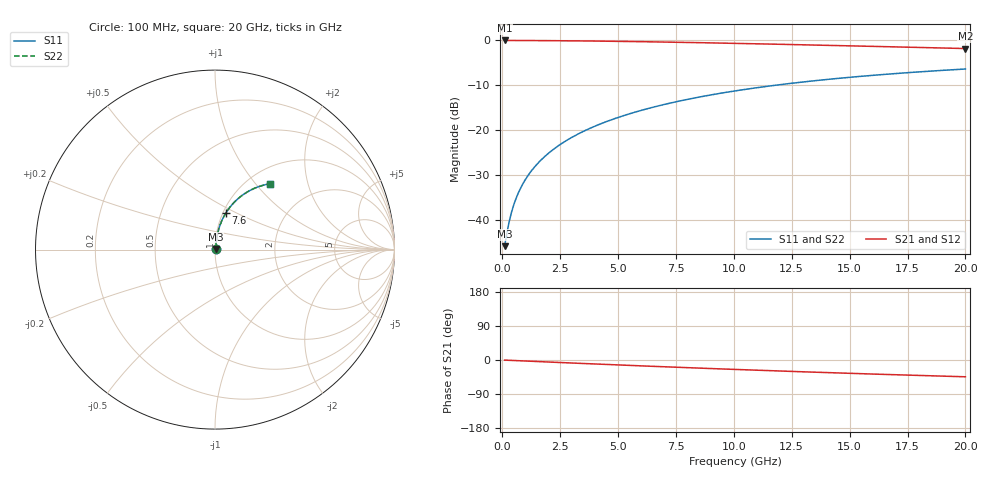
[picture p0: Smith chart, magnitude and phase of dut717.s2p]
! Touchstone file exported from HFSS 2024.1.0
!  File:  C:/UserFiles/LocalFiles/RDL_TSV_Batchsim/temp_RDL_top_717_1779850465.aedt
!  Generated:  10:57:11 AM May 27, 2026
!  Design:  RDL_top
!  Project:  temp_RDL_top_717_1779850465
!  Setup:  Setup1
!  Solution:  Sweep
! Variables:
!  dtsv = 10.80580581um
!  hbump = 3um
!  htsv = 55.77um
!  ldown = 100um
!  lrdl = 563.65um
!  p = 40
!  p1 = 55.98um
!  rhole = 1um
!  t = 450um
!  tdown = 3.915915916um
!  trdl = 3.07um
!  wdown = 15.38538539um
!  wrdl = 15.63um
# GHz S MA R 50.000000
! Terminal data exported
! Port[1] = Box2_T1
! Port[2] = Box2_T2
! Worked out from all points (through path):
!   200 points, 100 MHz to 20 GHz, reference 50 ohm
!   highest |S21| = -0.04 dB at 100 MHz (marker M1); lowest = -1.8 dB at 20 GHz (marker M2)
!   group delay of S21, straight-line fit = 6.14 ps
!   lowest |S11| = -45.7 dB at 100 MHz (marker M3), VSWR 1.01, Z = 50.4 + j0.294 ohm
!   |S11| at or under -10 dB: start of sweep to 11.77 GHz
!   |S22| runs from -45.7 to -6.4 dB; largest |S21 - S12| = 3e-15
!   S11 on the Smith chart (normalised r, x): 100 MHz: 1.01, +0.01; 7.6 GHz: 1.03, +0.44; 20 GHz: 1.26, +1.20
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0.1  0.005186 34.2  0.9957 -0.3  0.9957 -0.3  0.005186 34.2
! Gamma 0 0 0 0
! Port Impedance 50 0 50 0
0.2  0.007275 52.9  0.9956 -0.6  0.9956 -0.6  0.007275 52.9
0.3  0.009766 62.3  0.9955 -0.8  0.9955 -0.8  0.009766 62.3
0.4  0.01239 67.7  0.9953 -1.1  0.9953 -1.1  0.01239 67.7
0.5  0.01505 71.1  0.9951 -1.4  0.9951 -1.4  0.01505 71.1
0.6  0.01774 73.4  0.9949 -1.6  0.9949 -1.6  0.01774 73.4
0.8  0.02312 76.4  0.9945 -2.2  0.9945 -2.2  0.02312 76.4
1.1  0.03125 78.8  0.9938 -3.0  0.9938 -3.0  0.03125 78.8
1.5  0.04216 80.4  0.9928 -4.0  0.9928 -4.0  0.04216 80.3
1.8  0.05039 80.9  0.9918 -4.8  0.9918 -4.8  0.05039 80.9
2.1  0.05865 81.2  0.9908 -5.6  0.9908 -5.6  0.05865 81.2
2.7  0.07523 81.1  0.9882 -7.2  0.9882 -7.2  0.07523 81.1
3.5  0.09744 80.5  0.9838 -9.2  0.9838 -9.2  0.09743 80.5
4.2  0.1169 79.6  0.9794 -11.0  0.9794 -11.0  0.1169 79.6
5  0.1391 78.4  0.9735 -13.0  0.9735 -13.0  0.1391 78.4
5.9  0.164 76.9  0.9661 -15.3  0.9661 -15.3  0.164 76.9
6.8  0.1887 75.2  0.958 -17.4  0.958 -17.4  0.1886 75.2
7.6  0.2103 73.7  0.9503 -19.3  0.9503 -19.3  0.2103 73.6
10.1  0.2755 68.6  0.9241 -25.0  0.9241 -25.0  0.2754 68.6
13.4  0.3538 62.0  0.8866 -32.0  0.8866 -32.0  0.3537 62.0
16.7  0.422 55.7  0.8479 -38.4  0.8479 -38.4  0.4219 55.7
20  0.48 49.9  0.8099 -44.3  0.8099 -44.3  0.4798 49.9
